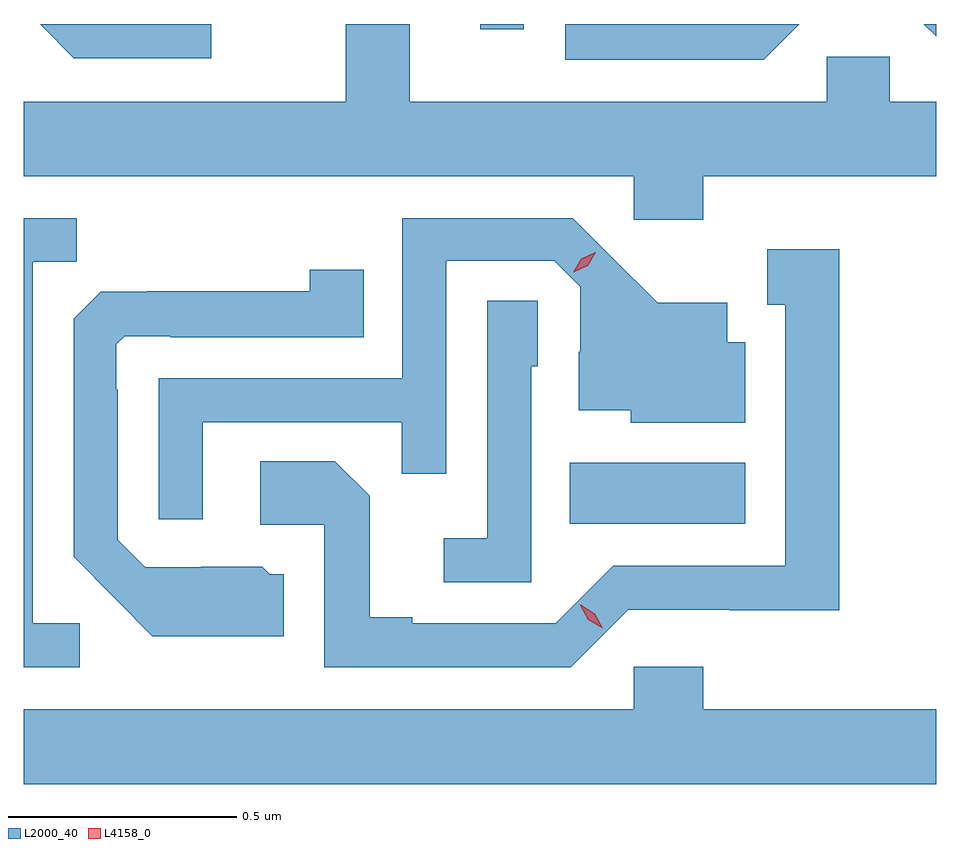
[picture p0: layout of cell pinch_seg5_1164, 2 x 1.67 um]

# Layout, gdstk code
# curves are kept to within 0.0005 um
import gdstk
lib = gdstk.Library(unit=1e-6, precision=1e-09)
def R(c, l, rs):  # rectangles x0, y0, x1, y1
    for r in rs: c.add(gdstk.rectangle(r[:2], r[2:], *l))
def P(c, l, *ps):  # polygons
    for p in ps: c.add(gdstk.Polygon(p, *l))
L2000_40 = (2000, 40)
L4158_0 = (4158, 0)

pinch_seg5_1164 = lib.new_cell('pinch_seg5_1164')
R(pinch_seg5_1164, L2000_40, [(783.388,836.018,783.772,836.152), (783.191,837.102,783.287,837.114)])
P(pinch_seg5_1164, L2000_40, [(784.191,837.114),(784.164,837.114),(784.191,837.087)],
  [(782.602,837.114),(782.227,837.114),(782.301,837.039),(782.602,837.039)],
  [(783.037,837.114),(782.897,837.114),(782.897,836.944),(782.191,836.944),(782.191,836.78),(783.528,836.78),(783.528,836.685),(783.68,836.685),(783.68,836.78),(784.191,836.78),(784.191,836.944),(784.089,836.944),(784.089,837.042),(783.951,837.042),(783.951,836.944),(783.037,836.944)],
  [(783.891,837.114),(783.378,837.114),(783.378,837.036),(783.813,837.036)],
  [(782.314,835.8),(782.211,835.8),(782.211,836.593),(782.307,836.593),(782.307,836.688),(782.191,836.688),(782.191,835.704),(782.314,835.704)],
  [(782.583,836.241),(783.019,836.241),(783.019,836.128),(783.117,836.128),(783.117,836.595),(783.354,836.595),(783.411,836.538),(783.411,836.396),(783.407,836.396),(783.407,836.267),(783.522,836.267),(783.522,836.24),(783.772,836.24),(783.772,836.416),(783.733,836.416),(783.733,836.503),(783.581,836.503),(783.394,836.688),(783.021,836.688),(783.021,836.337),(782.487,836.337),(782.487,836.028),(782.583,836.028)],
  [(783.516,835.83),(783.738,835.83),(783.738,835.829),(783.979,835.829),(783.979,836.62),(783.821,836.62),(783.821,836.499),(783.86,836.499),(783.86,835.926),(783.483,835.926),(783.357,835.8),(783.043,835.8),(783.043,835.813),(782.949,835.813),(782.949,836.08),(782.873,836.156),(782.709,836.156),(782.709,836.016),(782.85,836.016),(782.85,835.704),(783.39,835.704)],
  [(782.761,835.908),(782.73,835.908),(782.714,835.924),(782.58,835.924),(782.58,835.923),(782.457,835.923),(782.397,835.983),(782.397,836.312),(782.394,836.312),(782.394,836.412),(782.412,836.43),(782.512,836.43),(782.512,836.427),(782.936,836.427),(782.936,836.575),(782.818,836.575),(782.818,836.528),(782.461,836.528),(782.461,836.527),(782.36,836.527),(782.301,836.468),(782.301,835.946),(782.473,835.772),(782.761,835.772)],
  [(783.303,836.364),(783.318,836.364),(783.318,836.507),(783.207,836.507),(783.207,835.987),(783.111,835.987),(783.111,835.89),(783.303,835.89)],
  [(784.191,835.612),(783.68,835.612),(783.68,835.705),(783.528,835.705),(783.528,835.612),(782.191,835.612),(782.191,835.448),(784.191,835.448)])
P(pinch_seg5_1164, L4158_0, [(783.46,835.789),(783.428,835.808),(783.411,835.84),(783.411,835.841),(783.412,835.841),(783.443,835.821),(783.46,835.789),(783.46,835.789)],
  [(783.395,836.57),(783.395,836.57),(783.413,836.599),(783.444,836.614),(783.445,836.614),(783.445,836.614),(783.427,836.584),(783.396,836.57)])

lib.write_gds('pinch_seg5_1164.gds')
